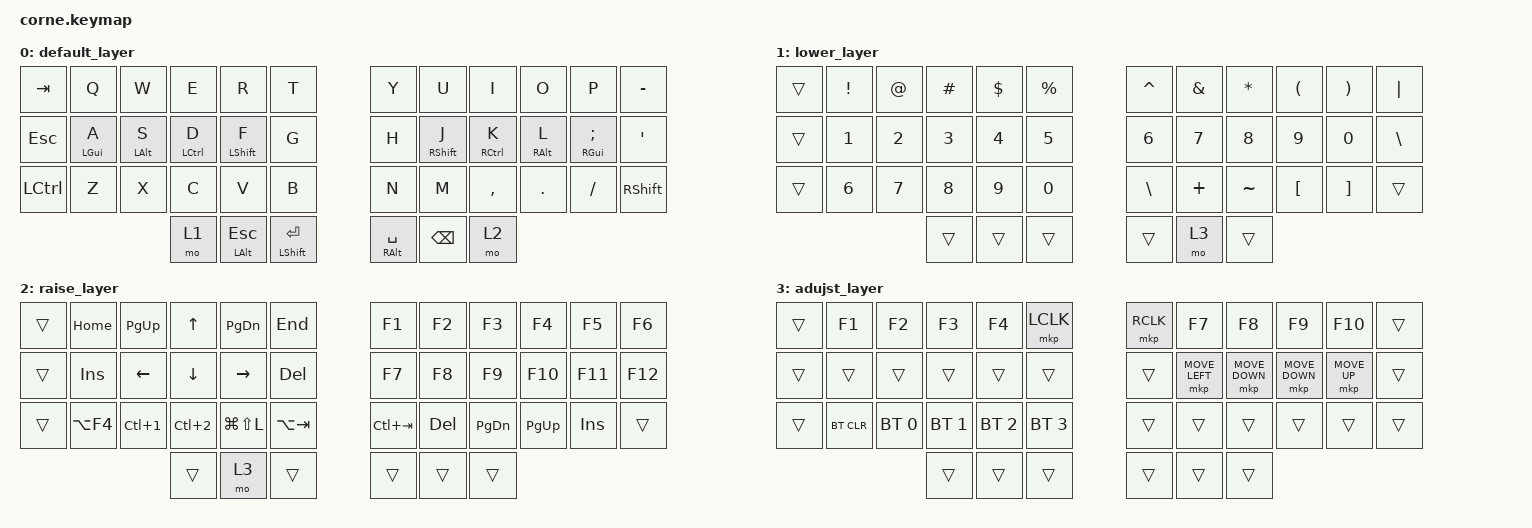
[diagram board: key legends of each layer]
/*
 * Copyright (c) 2020 The ZMK Contributors
 *
 * SPDX-License-Identifier: MIT
 */

#include <behaviors.dtsi>
#include <dt-bindings/zmk/keys.h>
#include <dt-bindings/zmk/bt.h>
#include <dt-bindings/zmk/ext_power.h> 
#include <dt-bindings/zmk/pointing.h>
#include <dt-bindings/zmk/mouse.h>
/ {
  behaviors {
    bhm: balanced_homerow_mods {
      compatible = "zmk,behavior-hold-tap";
      #binding-cells = <2>;
      tapping-term-ms = <240>;    // <---[[moderate duration]]
      quick-tap-ms = <0>;
      flavor = "tap-preferred";
      bindings = <&kp>, <&kp>;
    };
  };
  keymap {
    compatible = "zmk,keymap";

    default_layer {
      bindings = <
        &kp TAB   &kp  Q       &kp W        &kp E        &kp R         &kp T       &kp Y   &kp U         &kp I        &kp O         &kp P           &kp MINUS
        &kp ESC   &bhm LGUI A  &bhm LALT S  &bhm LCTRL D &bhm LSHFT F  &kp G       &kp H   &bhm RSHFT J  &bhm RCTRL K &bhm RALT L   &bhm RGUI SEMI  &kp SQT
        &kp LCTRL &kp  Z       &kp X        &kp C        &kp V         &kp B       &kp N   &kp M         &kp COMMA    &kp DOT       &kp FSLH        &kp RSHFT
                                          &mo 1 &bhm LALT ESC &bhm LSHFT RET       &bhm RALT SPACE &kp BSPC &mo 2 
      >;
    };
    lower_layer {
      bindings = <
        &trans    &kp EXCL    &kp AT       &kp HASH     &kp DLLR      &kp PRCNT       &kp CARET   &kp AMPS    &kp ASTRK   &kp LPAR   &kp RPAR   &kp PIPE
        &trans    &kp N1      &kp N2       &kp N3       &kp N4        &kp N5          &kp N6      &kp N7      &kp N8      &kp N9     &kp N0     &kp BSLH
        &trans    &kp N6      &kp N7       &kp N8       &kp N9        &kp N0          &kp BSLH    &kp PLUS    &kp TILDE   &kp LBKT   &kp RBKT   &trans
                                              &trans     &trans      &trans           &trans  &mo 3 &trans 
      >;
    };

    raise_layer {
      bindings = <
        &trans &kp HOME    &kp PG_UP   &kp UP      &kp PG_DN      &kp END        &kp F1     &kp F2   &kp F3     &kp F4     &kp F5    &kp F6
        &trans &kp INS     &kp LEFT    &kp DOWN    &kp RIGHT      &kp DEL        &kp F7     &kp F8   &kp F9     &kp F10    &kp F11   &kp F12
        &trans &kp LA(F4)  &kp LC(1)   &kp LC(2)   &kp LG(LS(L))  &kp LA(TAB)    &kp LC(TAB)  &kp DEL  &kp PG_DN  &kp PG_UP  &kp INS   &trans
                                                    &trans &mo 3   &trans   &trans   &trans    &trans
      >;
    };

    adujst_layer {
      bindings = <
        &trans      &kp F1  &kp F2       &kp F3       &kp F4        &mkp LCLK       &mkp RCLK   &kp F7  &kp F8 &kp F9   &kp F10 &trans
        &trans      &trans  &trans       &trans       &trans        &trans       &trans   &mkp MOVE_LEFT  &mkp MOVE_DOWN &mkp MOVE_DOWN  &mkp MOVE_UP  &trans
        &trans      &bt BT_CLR  &bt BT_SEL 0 &bt BT_SEL 1 &bt BT_SEL 2  &bt BT_SEL 3 &trans   &trans  &trans &trans   &trans  &trans
                                      &trans &trans   &trans   &trans   &trans    &trans
      >;
    };
  };
};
